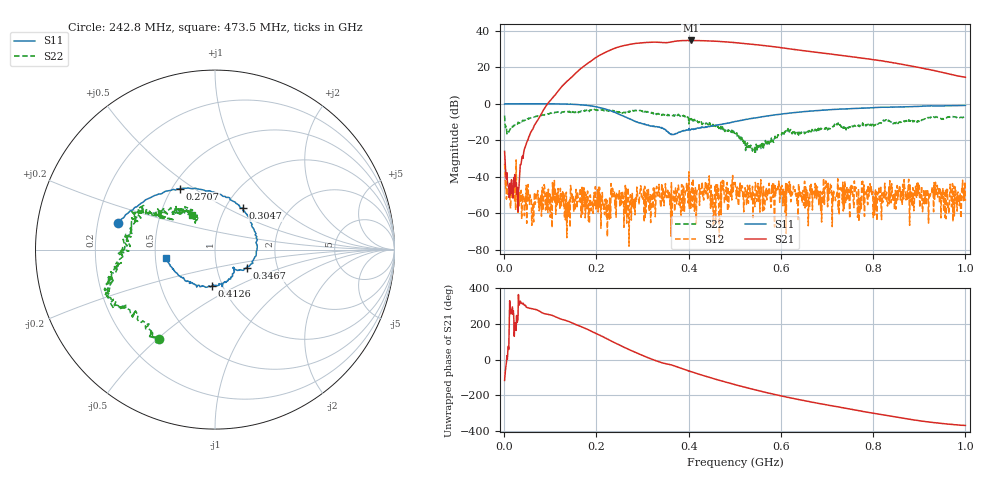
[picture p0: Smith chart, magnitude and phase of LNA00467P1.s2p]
! Created with skrf 1.9.0 (http://scikit-rf.org).
# Hz S RI R 50.0
!freq ReS11 ImS11 ReS21 ImS21 ReS12 ImS12 ReS22 ImS22
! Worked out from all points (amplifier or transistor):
!   1001 points, 1 MHz to 1 GHz, reference 50 ohm
!   highest |S21| = 34.7 dB at 404.6 MHz (marker M1)
!   |S21| within 3 dB of that: 256.9 MHz to 570.6 MHz (313.7 MHz wide, 75.8 % of centre)
!   unconditionally stable (mu >= 1): start of sweep to 37.31 MHz; 232.1 MHz to 400.5 MHz; 400.7 MHz to end of sweep (the widest 3 of 33)
!   at 166.8 MHz: K = 5.59, MAG = 30.4 dB, |S12| = -62.3 dB
!   at 500.5 MHz: K = 1.32, MAG = 34.6 dB, |S12| = -42.3 dB
!   at 1 GHz: K = 6.06, MAG = 23.1 dB, |S12| = -53.2 dB
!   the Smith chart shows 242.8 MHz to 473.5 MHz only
!   S11 on the Smith chart (normalised r, x): 242.8 MHz: 0.29, +0.12; 270.7 MHz: 0.55, +0.44; 304.7 MHz: 1.21, +0.60; 346.7 MHz: 1.39, -0.30; 412.6 MHz: 0.89, -0.38; 473.5 MHz: 0.57, -0.06
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1000000  0.9772 0.00138  -0.0216 -0.0444  -0.02 0.0108  0.3627 0.3046
1.08892e8  0.5262 -0.8449  -0.7541 -1.478  -0.00318 0.00716  0.4267 -0.3613
1.67833e8  -0.2252 -0.9026  -9.573 -0.7043  0.000816 -0.00105  0.0289 -0.6321
2.09791e8  -0.6668 -0.3882  -15.47 16.04  0.000384 5.03e-06  -0.2044 -0.6476
2.42758e8  -0.5401 0.1482  -0.582 34.12  0.000457 0.000625  -0.3134 -0.4965
2.7073e8  -0.1963 0.3396  23.11 35.04  0.000124 -1.41e-05  -0.5333 -0.3287
3.04696e8  0.1571 0.2307  45.2 15.14  -0.001 0.00535  -0.5919 -0.1429
3.34666e8  0.2301 -0.0205  47.61 -9.065  -0.00271 0.00146  -0.5204 -0.0171
3.46654e8  0.1768 -0.1017  44.5 -16.43  -0.000124 0.0016  -0.4904 0.0192
3.74626e8  0.1049 -0.1115  40.34 -33.5  -0.00178 -0.000123  -0.4122 0.1767
4.04596e8  0.0244 -0.1927  21.74 -49.87  -0.000142 0.00137  -0.3348 0.1922
4.12588e8  -0.0159 -0.2012  15.93 -51.72  0.000835 0.000769  -0.3163 0.1936
4.41559e8  -0.1566 -0.1774  -5.853 -52.73  -0.00023 0.00229  -0.1651 0.2173
4.73527e8  -0.2755 -0.0473  -25.52 -43.49  0.00525 0.00591  -0.1281 0.1926
5.005e8  -0.3114 0.0997  -36.39 -30.86  0.00207 0.00736  -0.0664 0.1549
5.4046e8  -0.2482 0.3165  -41.1 -10.12  0.00323 -0.00146  -0.0471 0.0433
5.88412e8  -0.0553 0.4938  -34.75 9.94  0.00124 -0.00268  -0.0961 -0.0518
6.67333e8  0.3273 0.5435  -14.19 22.42  -0.000832 -0.00459  -0.1945 -0.0283
7.55245e8  0.6421 0.3653  2.878 19.07  -0.0031 -0.00313  -0.234 0.0302
8.34166e8  0.7942 0.1325  9.682 10.02  -0.000778 0.00519  -0.3445 0.00935
9.09091e8  0.8486 -0.1249  9.005 2.393  -0.00283 -0.00102  -0.3281 0.1697
1e9  0.807 -0.4015  5.272 -0.7373  -0.00178 0.00127  -0.2912 0.3491
